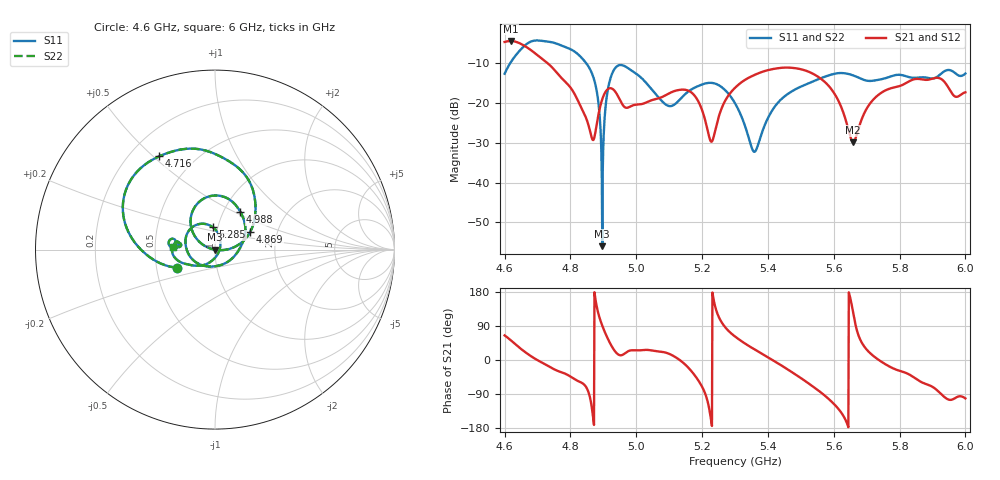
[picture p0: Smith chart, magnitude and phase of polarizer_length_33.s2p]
! TOUCHSTONE file generated by CST MICROWAVE STUDIO
! Date and time: Sun Dec  1 17:16:54 2024
! Project name: test_tuning.cst
! Parameters = {airCoaxOuterDiameter=3; chamferAngle=45; chamferWidth=24; connectorLength=10; drillingHoleDiameter=4.1; feedLength=60; flareDiameter=130; flareLength=70; gratingDistance=0; gratingGap=1.90274; outletLength=30; polarizerLength=128; probe1Diameter=1.3; probe1Distance=14; probe1Length=1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
! Header version: 2024
! Port assignment regex: !\s*Touchstone port\s*([0-9]+)\s*=\s*(CST MWS port|CST DES external port|CST DES block port)\s*(.+)\s* \(\"(.*)\"\)(\s*mode\s*([0-9]+))?.*
! Touchstone port assignment:
! Touchstone port 1 = CST MWS port 1 ("Input1")
! Touchstone port 2 = CST MWS port 2 ("Input2")
# GHz S MA R 50
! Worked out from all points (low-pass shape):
!   1001 points, 4.6 GHz to 6 GHz, reference 50 ohm
!   highest |S21| = -4.36 dB at 4.618 GHz (marker M1); lowest = -29.8 dB at 5.658 GHz (marker M2)
!   |S21| within 3 dB of the highest: start of sweep to 4.691 GHz
!   lowest |S11| = -56.0 dB at 4.897 GHz (marker M3), VSWR 1.00, Z = 49.8 - j0.0156 ohm
!   |S11| at or under -10 dB: start of sweep to 4.616582 GHz; 4.848 GHz to end of sweep
!   |S22| runs from -56.0 to -4.2 dB; largest |S21 - S12| = 6.4e-07
!   S11 on the Smith chart (normalised r, x): 4.6 GHz: 0.64, -0.14; 4.716 GHz: 0.32, +0.52; 4.869 GHz: 1.45, +0.29; 4.988 GHz: 1.20, +0.54; 5.285 GHz: 0.95, +0.24; 6 GHz: 0.62, +0.02
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4.6  0.2341 -154.6  0.588 64.9  0.588 64.9  0.2341 -154.6
4.6182  0.3242 -167.4  0.6052 52.5  0.6052 52.5  0.3242 -167.4
4.67  0.5653 155.3  0.4962 16.1  0.4962 16.1  0.5653 155.3
4.7162  0.6057 121.0  0.354 -8.0  0.354 -8.0  0.6057 121.0
4.8338  0.3723 54.0  0.08631 -59.9  0.08631 -59.9  0.3723 54.0
4.8688  0.217 26.3  0.03421 -151.1  0.03421 -151.1  0.217 26.3
4.8968  0.00158 -174.3  0.1122 90.3  0.1122 90.3  0.00158 -174.3
4.9108  0.1246 148.4  0.1462 61.3  0.1462 61.3  0.1246 148.4
4.9262  0.2328 124.6  0.1522 35.2  0.1522 35.2  0.2328 124.6
4.9878  0.2535 56.3  0.09292 25.7  0.09292 25.7  0.2535 56.3
5.0676  0.1181 -14.1  0.1147 22.6  0.1147 22.6  0.1181 -14.1
5.167  0.1481 -168.7  0.1364 -28.8  0.1364 -28.8  0.1481 -168.7
5.2286  0.1797 140.5  0.03263 -166.1  0.03263 -166.1  0.1797 140.5
5.2846  0.1243 95.0  0.1321 73.2  0.1321 73.2  0.1243 95.0
5.3  0.09964 82.8  0.1556 62.0  0.1556 62.0  0.09964 82.8
5.3602  0.02444 -26.5  0.2271 27.6  0.2271 27.6  0.02444 -26.5
5.4288  0.0994 -123.1  0.2742 -7.9  0.2742 -7.9  0.0994 -123.1
5.5338  0.1847 -154.7  0.2375 -68.1  0.2375 -68.1  0.1847 -154.7
5.6038  0.2346 -172.1  0.1281 -118.9  0.1281 -118.9  0.2346 -172.1
5.6584  0.2235 171.6  0.03222 127.6  0.03222 127.6  0.2235 171.6
5.7676  0.2125 176.3  0.1508 -16.4  0.1508 -16.4  0.2125 176.3
6  0.2356 176.8  0.1368 -101.3  0.1368 -101.3  0.2356 176.8
